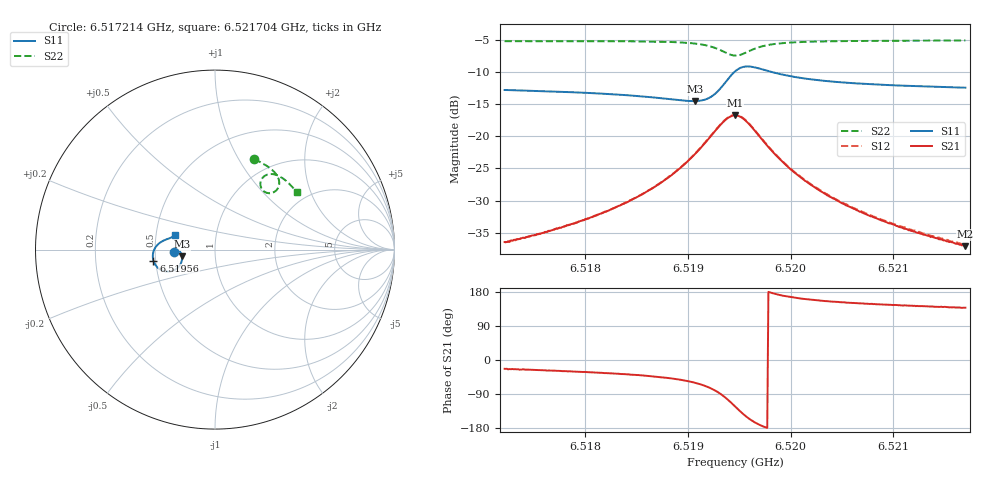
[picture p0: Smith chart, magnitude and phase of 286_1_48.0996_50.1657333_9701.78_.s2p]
#  HZ  S  RI  R  50.00
! Rohde & Schwarz Vector Network Analyzer
! Rohde-Schwarz,ZNB20-2Port,1311601062101988,3.16
! Created: UTC 12/23/2023, 4:03:16 AM
! freq[Hz]  re:S11  im:S11  re:S21  im:S21  re:S12  im:S12  re:S22  im:S22
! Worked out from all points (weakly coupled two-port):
!   401 points, 6.517214 GHz to 6.521704 GHz, reference 50 ohm
!   highest |S21| = -16.74 dB at 6.519459 GHz (marker M1); lowest = -37.1 dB at 6.521704 GHz (marker M2)
!   lowest |S11| = -14.5 dB at 6.519066 GHz (marker M3), VSWR 1.46, Z = 34.4 - j2.63 ohm
!   |S11| at or under -10 dB: start of sweep to 6.519453 GHz; 6.519817 GHz to end of sweep
!   |S22| runs from -7.5 to -5.1 dB; largest |S21 - S12| = 0.0044
!   S11 on the Smith chart (normalised r, x): 6.517214 GHz: 0.63, -0.02; 6.51956 GHz: 0.49, -0.07; 6.521704 GHz: 0.63, +0.11
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6.5172135e9  -0.2288 -0.0126  0.0139 -0.00593  0.0139 -0.00546  0.2183 0.5035
6.5175728e9  -0.2245 -0.00765  0.0157 -0.00795  0.0159 -0.00746  0.2448 0.4913
6.5179657e9  -0.2184 -0.00344  0.0189 -0.0115  0.0192 -0.0108  0.274 0.4758
6.5184036e9  -0.2088 -0.00244  0.0242 -0.0188  0.0248 -0.0181  0.3068 0.4537
6.5187179e9  -0.1984 -0.00808  0.0302 -0.0298  0.0313 -0.0292  0.3313 0.4313
6.5188976e9  -0.1908 -0.0176  0.0344 -0.0422  0.0359 -0.0414  0.3454 0.4128
6.519066e9  -0.1841 -0.037  0.0364 -0.0627  0.0385 -0.0619  0.356 0.3876
6.519167e9  -0.1842 -0.0577  0.0327 -0.0825  0.0355 -0.0821  0.3578 0.3656
6.5192456e9  -0.1918 -0.0804  0.0225 -0.1029  0.0257 -0.1031  0.3519 0.3446
6.5193691e9  -0.2371 -0.1186  -0.0235 -0.1328  -0.0199 -0.1346  0.316 0.3155
6.519414e9  -0.2667 -0.1226  -0.0505 -0.1332  -0.0472 -0.1358  0.2946 0.3151
6.5194589e9  -0.2982 -0.1146  -0.0779 -0.1229  -0.0751 -0.1261  0.2735 0.324
6.5195038e9  -0.3245 -0.095  -0.0991 -0.1027  -0.0972 -0.1063  0.2586 0.3414
6.5195599e9  -0.3432 -0.0617  -0.1118 -0.0717  -0.1108 -0.0755  0.2525 0.3672
6.5196722e9  -0.3403 -0.00422  -0.1032 -0.0229  -0.1033 -0.026  0.2701 0.405
6.5197845e9  -0.3204 0.0266  -0.0825 0.000304  -0.0833 -0.00202  0.2961 0.4191
6.5199978e9  -0.2893 0.049  -0.0541 0.0133  -0.0551 0.0118  0.3341 0.4183
6.5202111e9  -0.2706 0.0568  -0.0386 0.015  -0.0394 0.0141  0.3597 0.4081
6.5205255e9  -0.2539 0.063  -0.0262 0.0138  -0.0269 0.0133  0.3872 0.3901
6.5209633e9  -0.2403 0.0692  -0.0174 0.0119  -0.018 0.0116  0.4165 0.3639
6.5212777e9  -0.2331 0.0735  -0.0138 0.0107  -0.0143 0.0106  0.4342 0.3445
6.5217043e9  -0.2253 0.0792  -0.0104 0.00936  -0.011 0.00929  0.4559 0.3182
